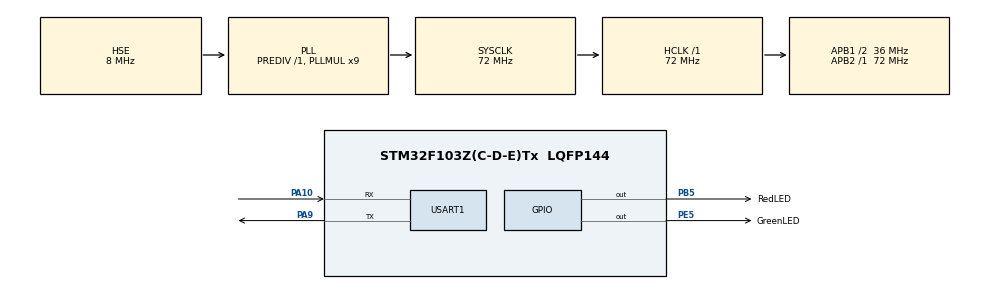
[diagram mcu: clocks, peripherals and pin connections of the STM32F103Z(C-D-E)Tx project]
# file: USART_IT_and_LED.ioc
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Mcu.Family=STM32F1
Mcu.Name=STM32F103Z(C-D-E)Tx
Mcu.Package=LQFP144
NVIC.PriorityGroup=NVIC_PRIORITYGROUP_4
NVIC.USART1_IRQn=true\:0\:0\:false\:false\:true\:true\:true\:true
OSC_IN.Mode=HSE-External-Oscillator
OSC_IN.Signal=RCC_OSC_IN
OSC_OUT.Mode=HSE-External-Oscillator
OSC_OUT.Signal=RCC_OSC_OUT
PA10.Mode=Asynchronous
PA10.Signal=USART1_RX
PA13.Mode=Serial_Wire
PA13.Signal=SYS_JTMS-SWDIO
PA14.Mode=Serial_Wire
PA14.Signal=SYS_JTCK-SWCLK
PA9.Mode=Asynchronous
PA9.Signal=USART1_TX
PB5.GPIO_Label=RedLED
PB5.PinState=GPIO_PIN_SET
PB5.Signal=GPIO_Output
PE5.GPIO_Label=GreenLED
PE5.PinState=GPIO_PIN_SET
PE5.Signal=GPIO_Output
ProjectManager.HeapSize=0x200
ProjectManager.StackSize=0x400
ProjectManager.TargetToolchain=CMake
RCC.AHBFreq_Value=72000000
RCC.APB1CLKDivider=RCC_HCLK_DIV2
RCC.APB1Freq_Value=36000000
RCC.APB1TimFreq_Value=72000000
RCC.APB2Freq_Value=72000000
RCC.APB2TimFreq_Value=72000000
RCC.HCLKFreq_Value=72000000
RCC.PLLMUL=RCC_PLL_MUL9
RCC.PLLSourceVirtual=RCC_PLLSOURCE_HSE
RCC.SYSCLKFreq_VALUE=72000000
RCC.SYSCLKSource=RCC_SYSCLKSOURCE_PLLCLK
RCC.USBFreq_Value=72000000
USART1.VirtualMode=VM_ASYNC
board=custom

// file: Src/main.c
/* USER CODE BEGIN Header */
/**
 ******************************************************************************
 * @file           : main.c
 * @brief          : Main program body
 ******************************************************************************
 * @attention
 *
 * Copyright (c) 2025 STMicroelectronics.
 * All rights reserved.
 *
 * This software is licensed under terms that can be found in the LICENSE file
 * in the root directory of this software component.
 * If no LICENSE file comes with this software, it is provided AS-IS.
 *
 ******************************************************************************
 */
/* USER CODE END Header */
#include "main.h"

#include "gpio.h"
#include "stm32f1xx_hal_uart.h"
#include "usart.h"

/* USER CODE BEGIN Includes */
#include <stdint.h>
#include <stdio.h>
#include <string.h>
/* USER CODE END Includes */

/* USER CODE BEGIN PV */
char receiveData[2];
/* USER CODE END PV */

void SystemClock_Config(void);

/* USER CODE BEGIN 0 */
int __io_putchar(int ch) {
    HAL_UART_Transmit(&huart1, (uint8_t*) &ch, 1, 10);
    return ch;
}

void HAL_UART_RxCpltCallback(UART_HandleTypeDef* huart) {
    if (huart->Instance == USART1) {
        HAL_UART_Transmit_IT(&huart1, (uint8_t*) receiveData, sizeof(receiveData));
        // HAL_UART_Receive_IT(&huart1, (uint8_t*) receiveData, sizeof(receiveData));
        GPIO_PinState state = GPIO_PIN_RESET;
        if (receiveData[1] == '0') {
            state = GPIO_PIN_SET;
        }
        switch (receiveData[0]) {
            case 'R': HAL_GPIO_WritePin(RedLED_GPIO_Port, RedLED_Pin, state); break;
            case 'G': HAL_GPIO_WritePin(GreenLED_GPIO_Port, GreenLED_Pin, state); break;
            default: break;
        }
        HAL_UART_Receive_IT(&huart1, (uint8_t*) receiveData, sizeof(receiveData));
    }
}
/* USER CODE END 0 */

int main(void) {

    /* MCU Configuration--------------------------------------------------------*/

    /* Reset of all peripherals, Initializes the Flash interface and the Systick. */
    HAL_Init();

    /* Configure the system clock */
    SystemClock_Config();

    /* Initialize all configured peripherals */
    MX_GPIO_Init();
    MX_USART1_UART_Init();
    /* USER CODE BEGIN 2 */
    HAL_UART_Receive_IT(&huart1, (uint8_t*) receiveData, sizeof(receiveData));
    /* USER CODE END 2 */

    /* Infinite loop */
    /* USER CODE BEGIN WHILE */
    while (1) {
        printf("Hello!\r\n");
        HAL_Delay(1000);
        /* USER CODE END WHILE */

    }
}

void SystemClock_Config(void) {
    RCC_OscInitTypeDef RCC_OscInitStruct = {0};
    RCC_ClkInitTypeDef RCC_ClkInitStruct = {0};

    /** Initializes the RCC Oscillators according to the specified parameters
     * in the RCC_OscInitTypeDef structure.
     */
    RCC_OscInitStruct.OscillatorType = RCC_OSCILLATORTYPE_HSE;
    RCC_OscInitStruct.HSEState = RCC_HSE_ON;
    RCC_OscInitStruct.HSEPredivValue = RCC_HSE_PREDIV_DIV1;
    RCC_OscInitStruct.HSIState = RCC_HSI_ON;
    RCC_OscInitStruct.PLL.PLLState = RCC_PLL_ON;
    RCC_OscInitStruct.PLL.PLLSource = RCC_PLLSOURCE_HSE;
    RCC_OscInitStruct.PLL.PLLMUL = RCC_PLL_MUL9;
    if (HAL_RCC_OscConfig(&RCC_OscInitStruct) != HAL_OK) {
        Error_Handler();
    }

    /** Initializes the CPU, AHB and APB buses clocks
     */
    RCC_ClkInitStruct.ClockType = RCC_CLOCKTYPE_HCLK | RCC_CLOCKTYPE_SYSCLK | RCC_CLOCKTYPE_PCLK1 | RCC_CLOCKTYPE_PCLK2;
    RCC_ClkInitStruct.SYSCLKSource = RCC_SYSCLKSOURCE_PLLCLK;
    RCC_ClkInitStruct.AHBCLKDivider = RCC_SYSCLK_DIV1;
    RCC_ClkInitStruct.APB1CLKDivider = RCC_HCLK_DIV2;
    RCC_ClkInitStruct.APB2CLKDivider = RCC_HCLK_DIV1;

    if (HAL_RCC_ClockConfig(&RCC_ClkInitStruct, FLASH_LATENCY_2) != HAL_OK) {
        Error_Handler();
    }
}

void Error_Handler(void) {
    __disable_irq();
    while (1) {}
}

#ifdef USE_FULL_ASSERT
/**
 * @brief  Reports the name of the source file and the source line number
 *         where the assert_param error has occurred.
 * @param  file: pointer to the source file name
 * @param  line: assert_param error line source number
 * @retval None
 */
void assert_failed(uint8_t* file, uint32_t line) {
    /* USER CODE BEGIN 6 */
    /* User can add his own implementation to report the file name and line
       number, ex: printf("Wrong parameters value: file %s on line %d\r\n", file,
       line) */
    /* USER CODE END 6 */
}
#endif /* USE_FULL_ASSERT */
